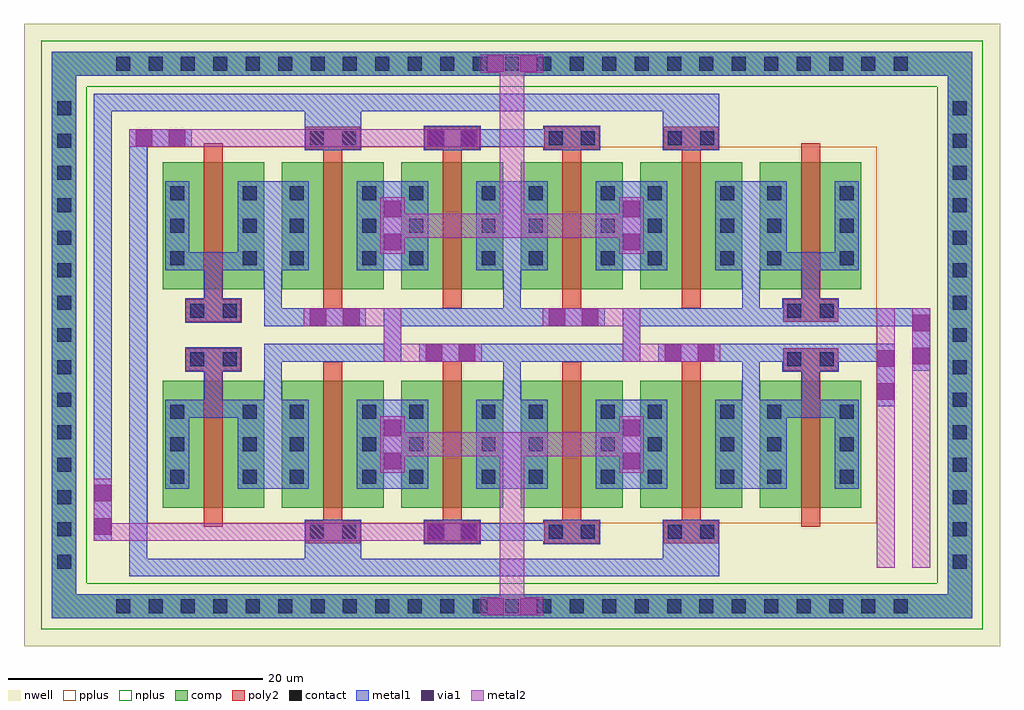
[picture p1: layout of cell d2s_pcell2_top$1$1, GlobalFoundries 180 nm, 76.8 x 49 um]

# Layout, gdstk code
import gdstk
lib = gdstk.Library(unit=1e-6, precision=1e-09)
def R(c, l, rs):  # rectangles x0, y0, x1, y1
    for r in rs: c.add(gdstk.rectangle(r[:2], r[2:], *l))
def A(c, l, x, y, w, h, nx, ny, dx, dy):  # array of equal rectangles
    R(c, l, [(x+i*dx, y+j*dy, x+i*dx+w, y+j*dy+h) for i in range(nx) for j in range(ny)])
nwell = (21, 0)
comp = (22, 0)
poly2 = (30, 0)
pplus = (31, 0)
nplus = (32, 0)
contact = (33, 0)
metal1 = (34, 0)
via1 = (35, 0)
metal2 = (36, 0)

d2s_pcell2_1_1_1_1_1 = lib.new_cell('d2s_pcell2_1$1$1$1$1')
R(d2s_pcell2_1_1_1_1_1, comp, [(0,1.5,2.3,11.5), (2.3,1.5,5.7,11.5), (5.7,1.5,8,11.5)])
R(d2s_pcell2_1_1_1_1_1, poly2, [(3.25,0,4.75,13)])
A(d2s_pcell2_1_1_1_1_1, contact, 0.6, 3.4, 1.1, 1.1, 1, 3, 0, 2.55)
A(d2s_pcell2_1_1_1_1_1, contact, 6.3, 3.4, 1.1, 1.1, 1, 3, 0, 2.55)
R(d2s_pcell2_1_1_1_1_1, metal1, [(0.2,3,2.1,10), (5.9,3,7.8,10)])

d2s_pcell2_4_1_1_1 = lib.new_cell('d2s_pcell2_4$1$1$1')
A(d2s_pcell2_4_1_1_1, poly2, 11.225, 13.625, 4.35, 1.8, 4, 1, 9.4, 0)
R(d2s_pcell2_4_1_1_1, poly2, [(1.825,0.05,6.175,1.85), (48.825,0.05,53.175,1.85)])
R(d2s_pcell2_4_1_1_1, contact, [(2.175,0.4,3.275,1.5), (4.725,0.4,5.825,1.5), (49.175,0.4,50.275,1.5), (51.725,0.4,52.825,1.5), (11.575,13.975,12.675,15.075), (14.125,13.975,15.225,15.075), (20.975,13.975,22.075,15.075), (23.525,13.975,24.625,15.075), (30.375,13.975,31.475,15.075), (32.925,13.975,34.025,15.075), (39.775,13.975,40.875,15.075), (42.325,13.975,43.425,15.075)])
A(d2s_pcell2_4_1_1_1, metal1, 7.8, 4.125, 1.8, 7, 5, 1, 9.4, 0)
R(d2s_pcell2_4_1_1_1, metal1, [(1.775,0,6.225,1.9), (48.775,0,53.225,1.9), (11.175,13.575,15.625,18.025), (20.575,13.575,25.025,15.475), (29.975,13.575,34.425,15.475), (39.375,13.575,43.825,18.025)])
R(d2s_pcell2_4_1_1_1, via1, [(17.45,5.675,18.75,6.975), (36.25,5.675,37.55,6.975), (17.45,8.275,18.75,9.575), (36.25,8.275,37.55,9.575), (20.85,13.875,22.15,15.175), (23.45,13.875,24.75,15.175)])
R(d2s_pcell2_4_1_1_1, metal2, [(17.15,5.4,19.05,9.85), (35.95,5.4,37.85,9.85)])
d2s_pcell2_4_1_1_1.add(gdstk.FlexPath([(51,1.9),(51,4.125)], 1.4, ends="flush", simple_path=True, layer=34, datatype=0))  # metal1
d2s_pcell2_4_1_1_1.add(gdstk.FlexPath([(52.9,4.825),(49.1,4.825)], 1.4, ends="flush", simple_path=True, layer=34, datatype=0))  # metal1
d2s_pcell2_4_1_1_1.add(gdstk.FlexPath([(4,1.9),(4,4.125)], 1.4, ends="flush", simple_path=True, layer=34, datatype=0))  # metal1
d2s_pcell2_4_1_1_1.add(gdstk.FlexPath([(5.9,4.825),(2.1,4.825)], 1.4, ends="flush", simple_path=True, layer=34, datatype=0))  # metal1
d2s_pcell2_4_1_1_1.add(gdstk.FlexPath([(29.975,14.525),(25.025,14.525)], 1.4, ends="flush", simple_path=True, layer=34, datatype=0))  # metal1
d2s_pcell2_4_1_1_1.add(gdstk.FlexPath([(43.825,17.325),(11.175,17.325)], 1.4, ends="flush", simple_path=True, layer=34, datatype=0))  # metal1
d2s_pcell2_4_1_1_1.add(gdstk.FlexPath([(19.05,7.625),(35.95,7.625)], 1.9, ends="flush", simple_path=True, layer=36, datatype=0))  # metal2
d2s_pcell2_4_1_1_1.add(gdstk.Reference(d2s_pcell2_1_1_1_1_1, (0,1.125)))
d2s_pcell2_4_1_1_1.add(gdstk.Reference(d2s_pcell2_1_1_1_1_1, (9.4,1.125)))
d2s_pcell2_4_1_1_1.add(gdstk.Reference(d2s_pcell2_1_1_1_1_1, (18.8,1.125)))
d2s_pcell2_4_1_1_1.add(gdstk.Reference(d2s_pcell2_1_1_1_1_1, (28.2,1.125)))
d2s_pcell2_4_1_1_1.add(gdstk.Reference(d2s_pcell2_1_1_1_1_1, (37.6,1.125)))
d2s_pcell2_4_1_1_1.add(gdstk.Reference(d2s_pcell2_1_1_1_1_1, (47,1.125)))

d2s_pcell2_top_1_1 = lib.new_cell('d2s_pcell2_top$1$1')
R(d2s_pcell2_top_1_1, nwell, [(0,0,76.8,49)])
R(d2s_pcell2_top_1_1, pplus, [(9.7,9.7,67.1,39.3)])
A(d2s_pcell2_top_1_1, contact, 7.25, 2.6, 1.1, 1.1, 25, 2, 2.55, 42.7)
A(d2s_pcell2_top_1_1, contact, 2.6, 6.1, 1.1, 1.1, 1, 15, 0, 2.55)
A(d2s_pcell2_top_1_1, contact, 73.1, 6.1, 1.1, 1.1, 1, 15, 0, 2.55)
R(d2s_pcell2_top_1_1, via1, [(36.45,2.5,37.75,3.8), (39.05,2.5,40.35,3.8), (5.55,8.8,6.85,10.1), (5.55,11.4,6.85,12.7), (67.15,19.4,68.45,20.7), (67.15,22,68.45,23.3), (69.95,22.2,71.25,23.5), (31.6,22.45,32.9,23.75), (34.2,22.45,35.5,23.75), (50.4,22.45,51.7,23.75), (53,22.45,54.3,23.75), (69.95,24.8,71.25,26.1), (22.5,25.25,23.8,26.55), (25.1,25.25,26.4,26.55), (41.3,25.25,42.6,26.55), (43.9,25.25,45.2,26.55), (8.8,39.35,10.1,40.65), (11.4,39.35,12.7,40.65), (36.45,45.2,37.75,46.5), (39.05,45.2,40.35,46.5)])
d2s_pcell2_top_1_1.add(gdstk.FlexPath([(57.2,29.6),(57.2,26.6)], 1.4, ends="flush", simple_path=True, layer=34, datatype=0))  # metal1
d2s_pcell2_top_1_1.add(gdstk.FlexPath([(38.4,29.6),(38.4,26.6)], 1.4, ends="flush", simple_path=True, layer=34, datatype=0))  # metal1
d2s_pcell2_top_1_1.add(gdstk.FlexPath([(19.6,29.6),(19.6,26.6)], 1.4, ends="flush", simple_path=True, layer=34, datatype=0))  # metal1
d2s_pcell2_top_1_1.add(gdstk.FlexPath([(36,25.9),(29,25.9),(29,23.1),(22,23.1)], 1.4, ends="flush", simple_path=True, layer=34, datatype=0))  # metal1
d2s_pcell2_top_1_1.add(gdstk.FlexPath([(26.9,25.9),(22,25.9)], 1.4, ends="flush", simple_path=True, layer=34, datatype=0))  # metal1
d2s_pcell2_top_1_1.add(gdstk.FlexPath([(36,23.1),(31.1,23.1)], 1.4, ends="flush", simple_path=True, layer=34, datatype=0))  # metal1
d2s_pcell2_top_1_1.add(gdstk.FlexPath([(36,25.9),(40.8,25.9)], 1.4, ends="flush", simple_path=True, layer=34, datatype=0))  # metal1
d2s_pcell2_top_1_1.add(gdstk.FlexPath([(36,23.1),(40.8,23.1)], 1.4, ends="flush", simple_path=True, layer=34, datatype=0))  # metal1
d2s_pcell2_top_1_1.add(gdstk.FlexPath([(22,25.9),(18.9,25.9)], 1.4, ends="flush", simple_path=True, layer=34, datatype=0))  # metal1
d2s_pcell2_top_1_1.add(gdstk.FlexPath([(22,23.1),(18.9,23.1)], 1.4, ends="flush", simple_path=True, layer=34, datatype=0))  # metal1
d2s_pcell2_top_1_1.add(gdstk.FlexPath([(38.4,29.6),(38.4,26.6)], 1.4, ends="flush", simple_path=True, layer=34, datatype=0))  # metal1
d2s_pcell2_top_1_1.add(gdstk.FlexPath([(54.8,25.9),(47.8,25.9),(47.8,23.1),(40.8,23.1)], 1.4, ends="flush", simple_path=True, layer=34, datatype=0))  # metal1
d2s_pcell2_top_1_1.add(gdstk.FlexPath([(45.7,25.9),(40.8,25.9)], 1.4, ends="flush", simple_path=True, layer=34, datatype=0))  # metal1
d2s_pcell2_top_1_1.add(gdstk.FlexPath([(54.8,23.1),(49.9,23.1)], 1.4, ends="flush", simple_path=True, layer=34, datatype=0))  # metal1
d2s_pcell2_top_1_1.add(gdstk.FlexPath([(57.9,25.9),(54.8,25.9)], 1.4, ends="flush", simple_path=True, layer=34, datatype=0))  # metal1
d2s_pcell2_top_1_1.add(gdstk.FlexPath([(57.9,23.1),(54.8,23.1)], 1.4, ends="flush", simple_path=True, layer=34, datatype=0))  # metal1
d2s_pcell2_top_1_1.add(gdstk.FlexPath([(57.2,22.4),(57.2,19.4)], 1.4, ends="flush", simple_path=True, layer=34, datatype=0))  # metal1
d2s_pcell2_top_1_1.add(gdstk.FlexPath([(38.4,22.4),(38.4,19.4)], 1.4, ends="flush", simple_path=True, layer=34, datatype=0))  # metal1
d2s_pcell2_top_1_1.add(gdstk.FlexPath([(19.6,22.4),(19.6,19.4)], 1.4, ends="flush", simple_path=True, layer=34, datatype=0))  # metal1
d2s_pcell2_top_1_1.add(gdstk.FlexPath([(38.4,22.4),(38.4,19.4)], 1.4, ends="flush", simple_path=True, layer=34, datatype=0))  # metal1
d2s_pcell2_top_1_1.add(gdstk.FlexPath([(70.6,26.6),(70.6,21.7)], 1.4, ends="flush", simple_path=True, layer=34, datatype=0))  # metal1
d2s_pcell2_top_1_1.add(gdstk.FlexPath([(67.8,23.8),(67.8,18.9)], 1.4, ends="flush", simple_path=True, layer=34, datatype=0))  # metal1
d2s_pcell2_top_1_1.add(gdstk.FlexPath([(57.9,23.1),(68.5,23.1)], 1.4, ends="flush", simple_path=True, layer=34, datatype=0))  # metal1
d2s_pcell2_top_1_1.add(gdstk.FlexPath([(73.65,46.8),(73.65,3.15),(3.15,3.15),(3.15,45.85),(72.7,45.85)], 1.9, ends="flush", simple_path=True, layer=34, datatype=0))  # metal1
d2s_pcell2_top_1_1.add(gdstk.FlexPath([(57.9,25.9),(69.9,25.9)], 1.4, ends="flush", simple_path=True, layer=34, datatype=0))  # metal1
d2s_pcell2_top_1_1.add(gdstk.FlexPath([(9,40.7),(9,6.9)], 1.4, ends="flush", simple_path=True, layer=34, datatype=0))  # metal1
d2s_pcell2_top_1_1.add(gdstk.FlexPath([(22.075,6.2),(8.3,6.2)], 1.4, ends="flush", simple_path=True, layer=34, datatype=0))  # metal1
d2s_pcell2_top_1_1.add(gdstk.FlexPath([(13.2,40),(8.3,40)], 1.4, ends="flush", simple_path=True, layer=34, datatype=0))  # metal1
d2s_pcell2_top_1_1.add(gdstk.FlexPath([(6.2,43.5),(6.2,8.3)], 1.4, ends="flush", simple_path=True, layer=34, datatype=0))  # metal1
d2s_pcell2_top_1_1.add(gdstk.FlexPath([(22.075,42.8),(6.9,42.8)], 1.4, ends="flush", simple_path=True, layer=34, datatype=0))  # metal1
d2s_pcell2_top_1_1.add(gdstk.FlexPath([(73.65,46.8),(73.65,3.15),(3.15,3.15),(3.15,45.85),(72.7,45.85)], 1.9, ends="flush", simple_path=True, layer=22, datatype=0))  # comp
d2s_pcell2_top_1_1.add(gdstk.FlexPath([(38.4,45.15),(38.4,34.05)], 1.9, ends="flush", simple_path=True, layer=36, datatype=0))  # metal2
d2s_pcell2_top_1_1.add(gdstk.FlexPath([(38.4,3.85),(38.4,14.95)], 1.9, ends="flush", simple_path=True, layer=36, datatype=0))  # metal2
d2s_pcell2_top_1_1.add(gdstk.FlexPath([(35.95,3.15),(40.85,3.15)], 1.4, ends="flush", simple_path=True, layer=36, datatype=0))  # metal2
d2s_pcell2_top_1_1.add(gdstk.FlexPath([(35.95,45.85),(40.85,45.85)], 1.4, ends="flush", simple_path=True, layer=36, datatype=0))  # metal2
d2s_pcell2_top_1_1.add(gdstk.FlexPath([(54.8,23.1),(47.8,23.1),(47.8,25.9),(40.8,25.9)], 1.4, ends="flush", simple_path=True, layer=36, datatype=0))  # metal2
d2s_pcell2_top_1_1.add(gdstk.FlexPath([(36,23.1),(29,23.1),(29,25.9),(22,25.9)], 1.4, ends="flush", simple_path=True, layer=36, datatype=0))  # metal2
d2s_pcell2_top_1_1.add(gdstk.FlexPath([(70.6,26.6),(70.6,6.175)], 1.4, ends="flush", simple_path=True, layer=36, datatype=0))  # metal2
d2s_pcell2_top_1_1.add(gdstk.FlexPath([(70.6,26.6),(70.6,21.7)], 1.4, ends="flush", simple_path=True, layer=36, datatype=0))  # metal2
d2s_pcell2_top_1_1.add(gdstk.FlexPath([(67.8,23.8),(67.8,18.9)], 1.4, ends="flush", simple_path=True, layer=36, datatype=0))  # metal2
d2s_pcell2_top_1_1.add(gdstk.FlexPath([(67.8,26.6),(67.8,6.175)], 1.4, ends="flush", simple_path=True, layer=36, datatype=0))  # metal2
d2s_pcell2_top_1_1.add(gdstk.FlexPath([(35.95,40),(8.3,40)], 1.4, ends="flush", simple_path=True, layer=36, datatype=0))  # metal2
d2s_pcell2_top_1_1.add(gdstk.FlexPath([(35.95,9),(6.9,9)], 1.4, ends="flush", simple_path=True, layer=36, datatype=0))  # metal2
d2s_pcell2_top_1_1.add(gdstk.FlexPath([(6.2,8.3),(6.2,13.2)], 1.4, ends="flush", simple_path=True, layer=36, datatype=0))  # metal2
d2s_pcell2_top_1_1.add(gdstk.FlexPath([(73.65,47.65),(73.65,3.15),(3.15,3.15),(3.15,45.85),(75.45,45.85)], 3.6, ends="flush", simple_path=True, layer=32, datatype=0))  # nplus
d2s_pcell2_top_1_1.add(gdstk.Reference(d2s_pcell2_4_1_1_1, (10.9,25.475)))
d2s_pcell2_top_1_1.add(gdstk.Reference(d2s_pcell2_4_1_1_1, (10.9,23.525), x_reflection=True))

lib.write_gds('d2s_pcell2_top_1_1.gds')
